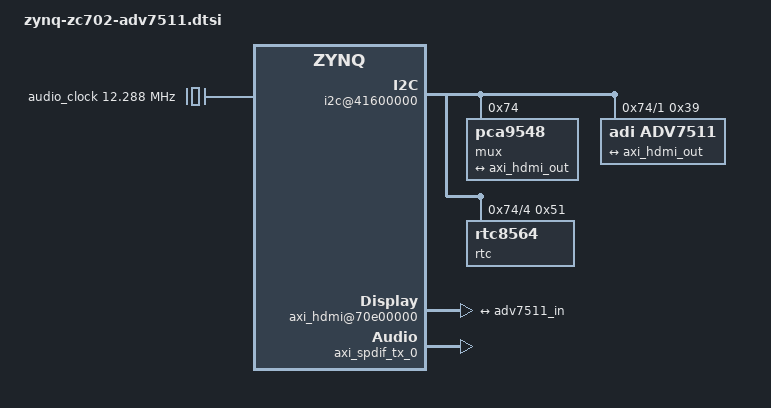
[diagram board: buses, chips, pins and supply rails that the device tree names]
/ {
	fpga_axi: fpga-axi@0 {
		compatible = "simple-bus";
		#address-cells = <0x1>;
		#size-cells = <0x1>;
		ranges;

		i2c@41600000 {
			compatible = "xlnx,axi-iic-1.02.a", "xlnx,xps-iic-2.00.a";
			reg = <0x41600000 0x10000>;
			interrupt-parent = <&intc>;
			interrupts = <0 58 IRQ_TYPE_LEVEL_HIGH>;
			clocks = <&clkc 15>;
			clock-names = "pclk";

			#address-cells = <1>;
			#size-cells = <0>;

			mux@74 {
				compatible = "pca9548";
				reg = <0x74>;
				#address-cells = <1>;
				#size-cells = <0>;
				i2c@1 {
					#size-cells = <0>;
					#address-cells = <1>;
					reg = <1>;

					adv7511: adv7511@39 {
						compatible = "adi,adv7511";
						reg = <0x39>, <0x3f>;
						reg-names = "primary", "edid";

						adi,input-depth = <8>;
						adi,input-colorspace = "yuv422";
						adi,input-clock = "1x";
						adi,input-style = <1>;
						adi,input-justification = "right";
						adi,clock-delay = <0>;

						#sound-dai-cells = <0>;

						ports {
							#address-cells = <1>;
							#size-cells = <0>;

							port@0 {
								reg = <0>;
								adv7511_in: endpoint {
									remote-endpoint = <&axi_hdmi_out>;
								};
							};

							port@1 {
								reg = <1>;
							};
						};

					};
				};

				i2c@4 {
					#size-cells = <0>;
					#address-cells = <1>;
					reg = <4>;
					rtc@51 {
						compatible = "rtc8564";
						reg = <0x51>;
					};
				};

				fmc_i2c: i2c@5 {
					#size-cells = <0>;
					#address-cells = <1>;
					reg = <5>;
				};
			};

		};

		hdmi_dma: dma@43000000 {
			compatible = "adi,axi-dmac-1.00.a";
			reg = <0x43000000 0x10000>;
			#dma-cells = <1>;
			interrupts = <0 59 IRQ_TYPE_LEVEL_HIGH>;
			clocks = <&clkc 16>;

			adi,channels {
				#size-cells = <0>;
				#address-cells = <1>;

				dma-channel@0 {
					reg = <0>;
					adi,source-bus-width = <64>;
					adi,source-bus-type = <0>;
					adi,destination-bus-width = <64>;
					adi,destination-bus-type = <1>;
				};
			};
		};

		hdmi_clock: axi-clkgen@79000000 {
			compatible = "adi,axi-clkgen-2.00.a";
			reg = <0x79000000 0x10000>;
			#clock-cells = <0>;
			clocks = <&clkc 15>, <&clkc 16>;
			clock-names = "s_axi_aclk", "clkin1";
		};

		axi_hdmi@70e00000 {
			compatible = "adi,axi-hdmi-tx-1.00.a";
			reg = <0x70e00000 0x10000>;
			dmas = <&hdmi_dma 0>;
			dma-names = "video";
			clocks = <&hdmi_clock>;

			port {
				axi_hdmi_out: endpoint {
					remote-endpoint = <&adv7511_in>;
				};
			};
		};

		axi_spdif_tx_0: axi-spdif-tx@75c00000 {
			compatible = "adi,axi-spdif-tx-1.00.a";
			reg = <0x75c00000 0x1000>;
			dmas = <&dmac_s 0>;
			dma-names = "tx";
			clocks = <&clkc 15>, <&audio_clock>;
			clock-names = "axi", "ref";

			#sound-dai-cells = <0>;
		};

		axi_sysid_0: axi-sysid-0@45000000 {
			compatible = "adi,axi-sysid-1.00.a";
			reg = <0x45000000 0x10000>;
		};
	};

	audio_clock: audio_clock {
		compatible = "fixed-clock";
		#clock-cells = <0>;
		clock-frequency = <12288000>;
	};

	adv7511_hdmi_snd {
		compatible = "simple-audio-card";
		simple-audio-card,name = "HDMI monitor";
		simple-audio-card,widgets =
			"Speaker", "Speaker";
		simple-audio-card,routing =
			"Speaker", "TX";

		simple-audio-card,dai-link@0 {
			format = "spdif";
			cpu {
				sound-dai = <&axi_spdif_tx_0>;
				frame-master;
				bitclock-master;
			};
			codec {
				sound-dai = <&adv7511>;
			};
		};
	};
};

